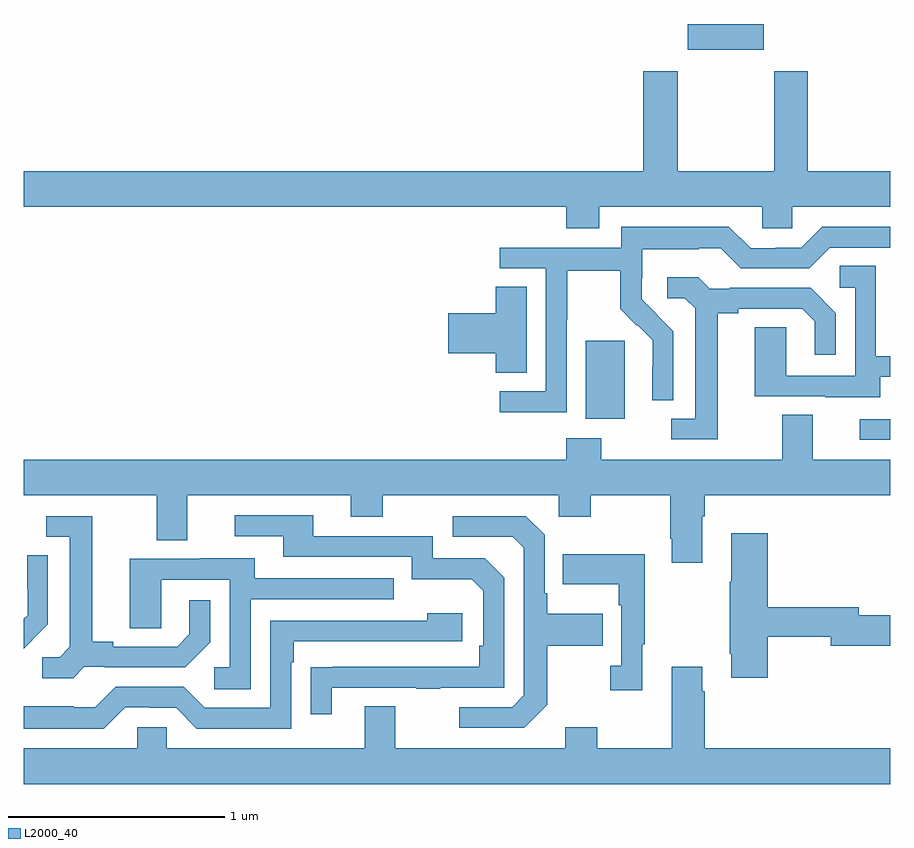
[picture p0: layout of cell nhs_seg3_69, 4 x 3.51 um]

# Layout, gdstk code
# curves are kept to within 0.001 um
import gdstk
lib = gdstk.Library(unit=1e-6, precision=1e-09)
def R(c, l, rs):  # rectangles x0, y0, x1, y1
    for r in rs: c.add(gdstk.rectangle(r[:2], r[2:], *l))
def P(c, l, *ps):  # polygons
    for p in ps: c.add(gdstk.Polygon(p, *l))
L2000_40 = (2000, 40)

nhs_seg3_69 = lib.new_cell('nhs_seg3_69')
R(nhs_seg3_69, L2000_40, [(116.859,726.48,117,726.576), (115.595,726.578,115.774,726.939), (116.066,728.282,116.416,728.4)])
P(nhs_seg3_69, L2000_40, [(115.657,727.556),(116.409,727.556),(116.409,727.458),(116.547,727.458),(116.547,727.556),(117,727.556),(117,727.72),(116.619,727.72),(116.619,728.182),(116.464,728.182),(116.464,727.72),(116.019,727.72),(116.019,728.182),(115.859,728.182),(115.859,727.72),(113,727.72),(113,727.556),(115.505,727.556),(115.505,727.457),(115.657,727.457)],
  [(115.506,727.036),(115.509,727.036),(115.509,727.26),(115.753,727.26),(115.753,727.085),(115.83,727.008),(115.833,727.011),(115.904,726.941),(115.904,726.818),(115.902,726.818),(115.902,726.664),(115.998,726.664),(115.998,726.982),(115.852,727.13),(115.852,727.227),(115.854,727.227),(115.854,727.361),(116.117,727.361),(116.117,727.365),(116.217,727.365),(116.31,727.272),(116.625,727.272),(116.721,727.368),(117,727.368),(117,727.464),(116.685,727.464),(116.589,727.368),(116.471,727.368),(116.471,727.365),(116.355,727.365),(116.255,727.465),(115.758,727.465),(115.758,727.368),(115.197,727.368),(115.197,727.272),(115.41,727.272),(115.41,726.705),(115.197,726.705),(115.197,726.607),(115.506,726.607)],
  [(116.953,726.771),(117,726.771),(117,726.867),(116.934,726.867),(116.934,727.283),(116.766,727.283),(116.766,727.182),(116.838,727.182),(116.838,726.777),(116.52,726.777),(116.52,727.001),(116.375,727.001),(116.375,726.681),(116.699,726.681),(116.699,726.677),(116.953,726.677)],
  [(116.203,727.064),(116.299,727.064),(116.299,727.086),(116.594,727.086),(116.651,727.029),(116.651,726.873),(116.748,726.873),(116.748,727.066),(116.632,727.182),(116.26,727.182),(116.26,727.179),(116.166,727.179),(116.114,727.231),(115.971,727.231),(115.971,727.134),(116.052,727.134),(116.099,727.087),(116.099,726.579),(115.989,726.579),(115.989,726.483),(116.203,726.483)],
  [(115.321,727.187),(115.178,727.187),(115.178,727.064),(114.96,727.064),(114.96,726.881),(115.178,726.881),(115.178,726.79),(115.321,726.79)],
  [(116.131,726.128),(116.144,726.128),(116.144,726.224),(117,726.224),(117,726.388),(116.641,726.388),(116.641,726.596),(116.501,726.596),(116.501,726.388),(115.665,726.388),(115.665,726.487),(115.505,726.487),(115.505,726.388),(113,726.388),(113,726.224),(113.615,726.224),(113.615,726.016),(113.755,726.016),(113.755,726.224),(114.509,726.224),(114.509,726.125),(114.657,726.125),(114.657,726.224),(115.47,726.224),(115.47,726.125),(115.617,726.125),(115.617,726.224),(115.984,726.224),(115.984,726.025),(115.991,726.025),(115.991,725.913),(116.131,725.913)],
  [(114.421,725.337),(114.811,725.337),(114.811,725.332),(114.923,725.332),(114.923,725.337),(115.218,725.337),(115.218,725.844),(115.128,725.934),(114.888,725.934),(114.888,726.036),(114.337,726.036),(114.337,726.132),(113.973,726.132),(113.973,726.036),(114.197,726.036),(114.197,725.94),(114.792,725.94),(114.792,725.837),(115.069,725.837),(115.122,725.784),(115.122,725.53),(115.102,725.53),(115.102,725.433),(114.325,725.432),(114.325,725.214),(114.421,725.214)],
  [(115.417,725.257),(115.417,725.53),(115.673,725.53),(115.673,725.677),(115.417,725.677),(115.417,725.773),(115.404,725.773),(115.404,726.042),(115.317,726.129),(114.981,726.129),(114.981,726.033),(115.257,726.033),(115.308,725.982),(115.308,725.301),(115.254,725.247),(115.011,725.247),(115.011,725.151),(115.311,725.151)],
  [(113.28,725.433),(113.374,725.433),(113.374,725.43),(113.746,725.43),(113.862,725.546),(113.862,725.74),(113.765,725.74),(113.765,725.583),(113.708,725.526),(113.413,725.526),(113.413,725.549),(113.317,725.549),(113.317,726.129),(113.103,726.129),(113.103,726.033),(113.213,726.033),(113.213,725.525),(113.166,725.478),(113.085,725.478),(113.085,725.381),(113.228,725.381)],
  [(116.435,725.572),(116.726,725.572),(116.726,725.53),(117,725.53),(117,725.672),(116.854,725.672),(116.854,725.708),(116.435,725.708),(116.435,726.049),(116.267,726.049),(116.267,725.825),(116.26,725.825),(116.26,725.494),(116.267,725.494),(116.267,725.382),(116.435,725.382)],
  [(115.855,725.537),(115.867,725.537),(115.867,725.953),(115.489,725.953),(115.489,725.813),(115.746,725.813),(115.746,725.717),(115.758,725.717),(115.758,725.438),(115.707,725.438),(115.707,725.325),(115.855,725.325)],
  [(113.04,725.556),(113.039,725.557),(113.112,725.63),(113.112,725.948),(113.016,725.948),(113.016,725.794),(113.018,725.794),(113.018,725.672),(113,725.654),(113,725.516)],
  [(114.048,725.745),(114.707,725.745),(114.707,725.841),(114.067,725.841),(114.067,725.935),(113.813,725.935),(113.813,725.931),(113.489,725.931),(113.489,725.611),(113.634,725.611),(113.634,725.835),(113.952,725.835),(113.952,725.43),(113.88,725.43),(113.88,725.329),(114.048,725.329)],
  [(113.469,725.247),(113.585,725.247),(113.585,725.244),(113.703,725.244),(113.799,725.148),(114.234,725.148),(114.234,725.453),(114.247,725.453),(114.247,725.55),(115.024,725.55),(115.024,725.68),(114.863,725.68),(114.863,725.646),(114.138,725.646),(114.138,725.244),(113.835,725.244),(113.739,725.34),(113.424,725.34),(113.331,725.247),(113.231,725.247),(113.231,725.251),(113,725.251),(113,725.147),(113.369,725.147)],
  [(117,725.056),(116.144,725.056),(116.144,725.321),(116.131,725.321),(116.131,725.434),(115.991,725.434),(115.991,725.056),(115.647,725.056),(115.647,725.155),(115.499,725.155),(115.499,725.056),(114.715,725.056),(114.715,725.251),(114.575,725.251),(114.575,725.056),(113.661,725.056),(113.661,725.154),(113.523,725.154),(113.523,725.056),(113,725.056),(113,724.892),(117,724.892)])

lib.write_gds('nhs_seg3_69.gds')
